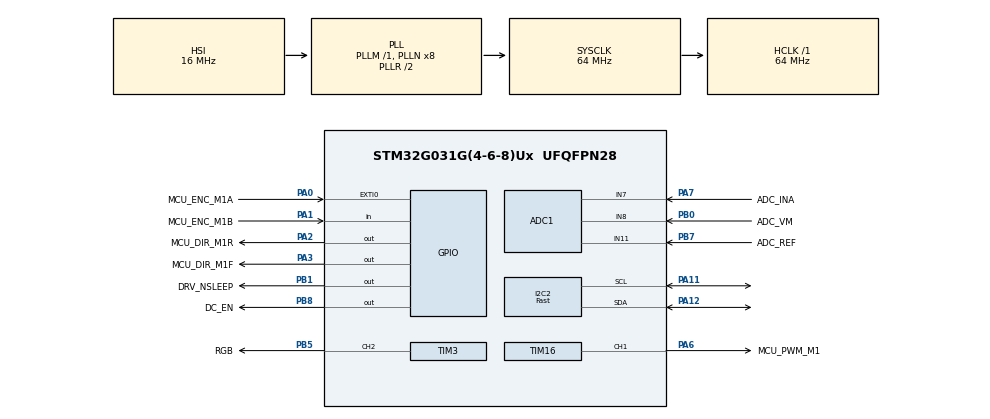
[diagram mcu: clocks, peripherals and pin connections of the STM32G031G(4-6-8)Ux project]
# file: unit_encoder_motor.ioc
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ADC1.Channel-0\#ChannelRegularConversion=ADC_CHANNEL_7
ADC1.Channel-1\#ChannelRegularConversion=ADC_CHANNEL_8
ADC1.Channel-2\#ChannelRegularConversion=ADC_CHANNEL_VREFINT
ADC1.Channel-3\#ChannelRegularConversion=ADC_CHANNEL_11
ADC1.ContinuousConvMode=ENABLE
ADC1.DMAContinuousRequests=ENABLE
ADC1.NbrOfConversion=4
ADC1.NbrOfConversionFlag=1
ADC1.Rank-0\#ChannelRegularConversion=1
ADC1.Rank-1\#ChannelRegularConversion=2
ADC1.Rank-2\#ChannelRegularConversion=3
ADC1.Rank-3\#ChannelRegularConversion=4
ADC1.SamplingTime-0\#ChannelRegularConversion=ADC_SAMPLINGTIME_COMMON_1
ADC1.SamplingTime-1\#ChannelRegularConversion=ADC_SAMPLINGTIME_COMMON_1
ADC1.SamplingTime-2\#ChannelRegularConversion=ADC_SAMPLINGTIME_COMMON_1
ADC1.SamplingTime-3\#ChannelRegularConversion=ADC_SAMPLINGTIME_COMMON_1
ADC1.SamplingTimeCommon1=ADC_SAMPLETIME_160CYCLES_5
ADC1.SamplingTimeCommon2=ADC_SAMPLETIME_160CYCLES_5
ADC1.SelectedChannel=ADC_CHANNEL_7|ADC_CHANNEL_VREFINT|ADC_CHANNEL_8|ADC_CHANNEL_11
ADC1.master=1
Dma.ADC1.0.Direction=DMA_PERIPH_TO_MEMORY
Dma.ADC1.0.EventEnable=DISABLE
Dma.ADC1.0.Instance=DMA1_Channel2
Dma.ADC1.0.MemDataAlignment=DMA_MDATAALIGN_WORD
Dma.ADC1.0.MemInc=DMA_MINC_ENABLE
Dma.ADC1.0.Mode=DMA_CIRCULAR
Dma.ADC1.0.PeriphDataAlignment=DMA_PDATAALIGN_WORD
Dma.ADC1.0.PeriphInc=DMA_PINC_DISABLE
Dma.ADC1.0.Polarity=HAL_DMAMUX_REQ_GEN_RISING
Dma.ADC1.0.Priority=DMA_PRIORITY_LOW
Dma.ADC1.0.RequestNumber=1
Dma.ADC1.0.SignalID=NONE
Dma.ADC1.0.SyncEnable=DISABLE
Dma.ADC1.0.SyncPolarity=HAL_DMAMUX_SYNC_NO_EVENT
Dma.ADC1.0.SyncRequestNumber=1
Dma.ADC1.0.SyncSignalID=NONE
Dma.Request0=ADC1
Dma.Request1=TIM3_CH2
Dma.TIM3_CH2.1.Direction=DMA_MEMORY_TO_PERIPH
Dma.TIM3_CH2.1.EventEnable=DISABLE
Dma.TIM3_CH2.1.Instance=DMA1_Channel1
Dma.TIM3_CH2.1.MemDataAlignment=DMA_MDATAALIGN_HALFWORD
Dma.TIM3_CH2.1.MemInc=DMA_MINC_ENABLE
Dma.TIM3_CH2.1.Mode=DMA_NORMAL
Dma.TIM3_CH2.1.PeriphDataAlignment=DMA_PDATAALIGN_HALFWORD
Dma.TIM3_CH2.1.PeriphInc=DMA_PINC_DISABLE
Dma.TIM3_CH2.1.Polarity=HAL_DMAMUX_REQ_GEN_RISING
Dma.TIM3_CH2.1.Priority=DMA_PRIORITY_LOW
Dma.TIM3_CH2.1.RequestNumber=1
Dma.TIM3_CH2.1.SignalID=NONE
Dma.TIM3_CH2.1.SyncEnable=DISABLE
Dma.TIM3_CH2.1.SyncPolarity=HAL_DMAMUX_SYNC_NO_EVENT
Dma.TIM3_CH2.1.SyncRequestNumber=1
Dma.TIM3_CH2.1.SyncSignalID=NONE
I2C2.I2C_Speed_Mode=I2C_Fast
I2C2.OwnAddress=0x2F << 1
I2C2.Timing=0x00C12166
IWDG.Prescaler=IWDG_PRESCALER_32
IWDG.Reload=4000
Mcu.Family=STM32G0
Mcu.Name=STM32G031G(4-6-8)Ux
Mcu.Package=UFQFPN28
NVIC.DMA1_Channel1_IRQn=true\:2\:0\:true\:false\:true\:false\:true\:true
NVIC.DMA1_Channel2_3_IRQn=true\:2\:0\:true\:false\:true\:false\:true\:true
NVIC.EXTI0_1_IRQn=true\:0\:0\:false\:false\:true\:true\:true\:true
NVIC.I2C2_IRQn=true\:1\:0\:true\:false\:true\:true\:true\:true
PA0.GPIO_Label=MCU_ENC_M1A
PA0.GPIO_ModeDefaultEXTI=GPIO_MODE_IT_RISING_FALLING
PA0.GPIO_PuPd=GPIO_PULLUP
PA0.Signal=GPXTI0
PA1.GPIO_Label=MCU_ENC_M1B
PA1.Signal=GPIO_Input
PA11\ [PA9].GPIO_Pu=GPIO_PULLUP
PA11\ [PA9].Mode=I2C
PA11\ [PA9].Signal=I2C2_SCL
PA12\ [PA10].GPIO_Pu=GPIO_PULLUP
PA12\ [PA10].Mode=I2C
PA12\ [PA10].Signal=I2C2_SDA
PA2.GPIO_Label=MCU_DIR_M1R
PA2.Signal=GPIO_Output
PA3.GPIO_Label=MCU_DIR_M1F
PA3.Signal=GPIO_Output
PA6.GPIO_Label=MCU_PWM_M1
PA6.Signal=S_TIM16_CH1
PA7.GPIO_Label=ADC_INA
PA7.Mode=IN7
PA7.Signal=ADC1_IN7
PB0.GPIO_Label=ADC_VM
PB0.Mode=IN8
PB0.Signal=ADC1_IN8
PB1.GPIO_Label=DRV_NSLEEP
PB1.PinState=GPIO_PIN_RESET
PB1.Signal=GPIO_Output
PB5.GPIO_Label=RGB
PB5.GPIO_PuPd=GPIO_NOPULL
PB5.Signal=S_TIM3_CH2
PB7.GPIO_Label=ADC_REF
PB7.Mode=IN11
PB7.Signal=ADC1_IN11
PB8.GPIO_Label=DC_EN
PB8.PinState=GPIO_PIN_SET
PB8.Signal=GPIO_Output
ProjectManager.HeapSize=0x200
ProjectManager.StackSize=0x400
ProjectManager.TargetToolchain=STM32CubeIDE
RCC.ADCFreq_Value=64000000
RCC.AHBFreq_Value=64000000
RCC.CortexFreq_Value=64000000
RCC.EXTERNAL_CLOCK_VALUE=12288000
RCC.HCLKFreq_Value=64000000
RCC.HSE_VALUE=8000000
RCC.HSI_VALUE=16000000
RCC.LSE_VALUE=32768
RCC.SYSCLKFreq_VALUE=64000000
RCC.SYSCLKSource=RCC_SYSCLKSOURCE_PLLCLK
RCC.VCOOutputFreq_Value=128000000
SH.S_TIM16_CH1.0=TIM16_CH1,PWM Generation1 CH1
SH.S_TIM3_CH2.0=TIM3_CH2,PWM Generation2 CH2
TIM16.Channel=TIM_CHANNEL_1
TIM16.OCIdleState_1=TIM_OCIDLESTATE_SET
TIM16.OCPolarity_1=TIM_OCPOLARITY_LOW
TIM16.Period=254
TIM16.Prescaler=35
TIM3.Channel-PWM\ Generation2\ CH2=TIM_CHANNEL_2
TIM3.Period=80-1
TIM3.Prescaler=0
VP_ADC1_Vref_Input.Mode=IN-Vrefint
VP_IWDG_VS_IWDG.Mode=IWDG_Activate
VP_TIM16_VS_ClockSourceINT.Mode=Enable_Timer
board=custom

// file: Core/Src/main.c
/* USER CODE BEGIN Header */
/**
 ******************************************************************************
 * @file           : main.c
 * @brief          : Main program body
 ******************************************************************************
 * @attention
 *
 * Copyright (c) 2025 STMicroelectronics.
 * All rights reserved.
 *
 * This software is licensed under terms that can be found in the LICENSE file
 * in the root directory of this software component.
 * If no LICENSE file comes with this software, it is provided AS-IS.
 *
 ******************************************************************************
 */
/* USER CODE END Header */
#include "main.h"
#include "adc.h"
#include "dma.h"
#include "i2c.h"
#include "iwdg.h"
#include "tim.h"
#include "gpio.h"

/* USER CODE BEGIN Includes */
#include "mymotorencoder.h"
#include "mymotorbdc.h"
#include "ws2812.h"
#include "pt_task.h"
#include "sys_utils.h"
#include "flash.h"
#include <string.h>
/* USER CODE END Includes */

/* USER CODE BEGIN PD */
#define ADC_CH_INA        0  // 根据你的通道顺序修改
#define ADC_CH_REF        3  // 根据你的通道顺序修改
#define ADC_CALIB_SAMPLES 100

/* USER CODE END PD */

/* USER CODE BEGIN PV */
volatile PeriError_TypeDef peri_error = {0};
volatile EventFlags_t g_events        = {0};
static uint8_t i2c_handle_tx_buf[128];
volatile uint8_t fm_version = FIRMWARE_VERSION;

// Device Unique identifier
__IO uint8_t g_uid[12] = {0};  // Unique identifier
/* USER CODE END PV */

void SystemClock_Config(void);

/* USER CODE BEGIN 0 */
uint32_t millis(void)
{
    return HAL_GetTick();
}

__STATIC_INLINE uint32_t GXT_SYSTICK_IsActiveCounterFlag(void)
{
    return ((SysTick->CTRL & SysTick_CTRL_COUNTFLAG_Msk) == (SysTick_CTRL_COUNTFLAG_Msk));
}

static uint32_t getCurrentMicros(void)
{
    /* Ensure COUNTFLAG is reset by reading SysTick control and status register */
    GXT_SYSTICK_IsActiveCounterFlag();
    uint32_t m         = HAL_GetTick();
    const uint32_t tms = SysTick->LOAD + 1;
    __IO uint32_t u    = tms - SysTick->VAL;
    if (GXT_SYSTICK_IsActiveCounterFlag()) {
        m = HAL_GetTick();
        u = tms - SysTick->VAL;
    }
    return (m * 1000 + (u * 1000) / tms);
}

// 获取系统时间，单位us
uint32_t micros(void)
{
    return getCurrentMicros();
}

static void i2c_send_bytes_from_offset(uint8_t *data, uint8_t data_len, uint8_t offset)
{
    if (offset >= data_len) {
        i2c2_set_send_data(NULL, 0);
        return;
    }

    i2c2_set_send_data(&data[offset], data_len - offset);
}

static void i2c_send_u8(uint8_t data)
{
    i2c_handle_tx_buf[0] = data;
    i2c2_set_send_data(i2c_handle_tx_buf, 1);
}

static void i2c_send_u16_from_offset(uint16_t data, uint8_t offset)
{
    if (offset >= 2) {
        i2c2_set_send_data(NULL, 0);
        return;
    }

    memcpy(i2c_handle_tx_buf, &data, 2);
    i2c2_set_send_data(&i2c_handle_tx_buf[offset], 2 - offset);
}

static void i2c_send_u32_from_offset(uint32_t data, uint8_t offset)
{
    if (offset >= 4) {
        i2c2_set_send_data(NULL, 0);
        return;
    }

    memcpy(i2c_handle_tx_buf, &data, 4);
    i2c2_set_send_data(&i2c_handle_tx_buf[offset], 4 - offset);
}

static void i2c_send_float_from_offset(float data, uint8_t offset)
{
    if (offset >= 4) {
        i2c2_set_send_data(NULL, 0);
        return;
    }

    memcpy(i2c_handle_tx_buf, &data, 4);
    i2c2_set_send_data(&i2c_handle_tx_buf[offset], 4 - offset);
}

static uint8_t is_valid_motor_config_value(uint8_t offset, uint8_t value)
{
    switch (offset) {
        case MOTOR_CONFIG_MOTOR_MODE:
            return value <= 0x02;
        case MOTOR_CONFIG_MOTOR_POS_MAX_SPEED:
            return value != 0x80;
        case MOTOR_CONFIG_MOTOR_SPEED_POINT:
            return value != 0x80;
        default:
            return 1;
    }
}

static uint8_t handle_i2c_write(uint8_t reg, uint8_t value)
{
    if (reg == I2C_RX_MOTOR_THROTTLE_BASE) {
        motor_data.motor_throttle[0] = value;
    } else if ((reg >= I2C_RX_ENCODER_BASE) && (reg <= I2C_RX_ENCODER_LIMIT)) {
        uint8_t offset                                                  = reg - I2C_RX_ENCODER_BASE;
        ((volatile uint8_t *)&encoder_raw[0].encoder_raw.value)[offset] = value;
    } else if ((reg >= I2C_RX_MOTOR_CONFIG_BASE) && (reg < I2C_RX_MOTOR_CONFIG_BASE + I2C_RX_MOTOR_CONFIG_COUNT)) {
        uint8_t offset = reg - I2C_RX_MOTOR_CONFIG_BASE;
        if (is_valid_motor_config_value(offset, value)) {
            motor_data.config[MOTOR_M1][offset] = value;
        }
    } else if ((reg >= I2C_RX_SYSTEM_SETTINGS_BASE) && (reg <= I2C_RX_SYSTEM_SETTINGS_LIMIT)) {
        switch (reg) {
            case I2C_RX_SYSTEM_SETTINGS_BASE: {
                uint8_t encoder_ab_mode = value ? 1 : 0;
                if (motor_data.encoder_ab_mode != encoder_ab_mode) {
                    motor_data.encoder_ab_mode     = encoder_ab_mode;
                    g_events.flash_config_update   = 1;
                    g_events.encoder_abmode_update = 1;  // 设置电机ab模式配置更新标志
                }
                break;
            }
            case I2C_RX_SYSTEM_SETTINGS_BASE + 1:
                if (motor_data.soft_start_stop_switch.value != value) {
                    motor_data.soft_start_stop_switch.value = value;
                    g_events.flash_config_update            = 1;
                }
                break;
            case I2C_RX_SYSTEM_SETTINGS_BASE + 2:
                motor_data.motor_sleep = value;
                if (motor_data.motor_sleep) {
                    LL_GPIO_SetOutputPin(DRV_NSLEEP_GPIO_Port, DRV_NSLEEP_Pin);
                } else {
                    LL_GPIO_ResetOutputPin(DRV_NSLEEP_GPIO_Port, DRV_NSLEEP_Pin);
                }
                break;
            default:
                break;
        }
    } else if ((reg >= I2C_RX_RGB_SETTINGS_BASE) && (reg <= I2C_RX_RGB_SETTINGS_LIMIT)) {
        switch (reg) {
            case I2C_RX_RGB_SETTINGS_BASE:
                rgb_data.rgb_data.flags.rgb_data_b = value;
                return 1;
            case I2C_RX_RGB_SETTINGS_BASE + 1:
                rgb_data.rgb_data.flags.rgb_data_g = value;
                return 1;
            case I2C_RX_RGB_SETTINGS_BASE + 2:
                rgb_data.rgb_data.flags.rgb_data_r = value;
                return 1;
            case I2C_RX_RGB_SETTINGS_BASE + 4:
                rgb_data.brightness = value;
                return 1;
            default:
                break;
        }
    }

    return 0;
}

static void handle_i2c_read(uint8_t reg)
{
    if (reg == I2C_TX_MOTOR_THROTTLE_ADDR) {
        i2c_send_u8(motor_data.motor_throttle[0]);
    } else if ((reg >= I2C_TX_ENCODER_VALUE_ADDR) && (reg <= I2C_RX_ENCODER_LIMIT)) {
        i2c_send_u32_from_offset((uint32_t)encoder_raw[0].encoder_raw.value, reg - I2C_TX_ENCODER_VALUE_ADDR);
    } else if (reg == I2C_TX_SPEED_VALUE_ADDR) {
        i2c_send_u8(motor_data.speed[0]);
    } else if ((reg >= I2C_TX_MOTOR_CONFIG_ADDR) && (reg < I2C_TX_MOTOR_CONFIG_ADDR + I2C_RX_MOTOR_CONFIG_COUNT)) {
        i2c_send_bytes_from_offset((uint8_t *)&motor_data.config[MOTOR_M1][0], I2C_RX_MOTOR_CONFIG_COUNT,
                                   reg - I2C_TX_MOTOR_CONFIG_ADDR);
    } else if ((reg >= I2C_TX_ADC_CURRENT_VALUE_ADDR) && (reg < I2C_TX_ADC_CURRENT_VALUE_ADDR + 4)) {
        i2c_send_float_from_offset(adc_data.i_in_value, reg - I2C_TX_ADC_CURRENT_VALUE_ADDR);
    } else if ((reg >= I2C_TX_ADC_VM_VALUE_ADDR) && (reg < I2C_TX_ADC_VM_VALUE_ADDR + 2)) {
        i2c_send_u16_from_offset((uint16_t)adc_data.uiAdcValueBuf[1], reg - I2C_TX_ADC_VM_VALUE_ADDR);
    } else if ((reg >= I2C_TX_MV_VM_VALUE_ADDR) && (reg < I2C_TX_MV_VM_VALUE_ADDR + 2)) {
        i2c_send_u16_from_offset((uint16_t)adc_data.voltage_vm_mv, reg - I2C_TX_MV_VM_VALUE_ADDR);
    } else if ((reg >= I2C_RX_SYSTEM_SETTINGS_BASE) && (reg <= I2C_RX_SYSTEM_SETTINGS_LIMIT)) {
        i2c_handle_tx_buf[0] = motor_data.encoder_ab_mode;
        i2c_handle_tx_buf[1] = motor_data.soft_start_stop_switch.value;
        i2c_handle_tx_buf[2] = motor_data.motor_sleep;
        i2c2_set_send_data(&i2c_handle_tx_buf[reg - I2C_RX_SYSTEM_SETTINGS_BASE],
                           I2C_RX_SYSTEM_SETTINGS_LIMIT - reg + 1);
    } else if ((reg >= I2C_RX_RGB_SETTINGS_BASE) && (reg <= I2C_RX_RGB_SETTINGS_LIMIT)) {
        memcpy(&i2c_handle_tx_buf[0], (uint8_t *)&rgb_data.rgb_data.value, 4);
        i2c_handle_tx_buf[4] = rgb_data.brightness;
        i2c2_set_send_data(&i2c_handle_tx_buf[reg - I2C_RX_RGB_SETTINGS_BASE], I2C_RX_RGB_SETTINGS_LIMIT - reg + 1);
    } else if ((reg >= I2C_TX_UID_BASE) && (reg <= I2C_TX_UID_LIMIT)) {
        for (uint8_t i = 0; i <= (I2C_TX_UID_LIMIT - I2C_TX_UID_BASE); i++) {
            i2c_handle_tx_buf[i] = g_uid[i];
        }
        i2c2_set_send_data(&i2c_handle_tx_buf[reg - I2C_TX_UID_BASE], I2C_TX_UID_LIMIT - reg + 1);
    } else if (reg == I2C_TX_DEVICE_STATUS_ADDR) {
        i2c_send_u8(1);
    } else if (reg == I2C_RX_JUMP_TO_BOOTLOADER_ADDR) {
        i2c_send_u8(0);
    } else if (reg == I2C_TX_FIRMWARE_VERSION_ADDR) {
        i2c_send_u8(fm_version);
    } else if (reg == I2C_RX_I2C_ADDR_CMD_ADDR) {
        i2c_send_u8(i2c_address[0]);
    } else {
        i2c2_set_send_data(NULL, 0);
    }
}

void Slave_Complete_Callback(uint8_t *rx_data, uint16_t len)
{
    if (len > 1) {
        uint8_t rgb_changed = 0;

        for (uint16_t i = 1; i < len; i++) {
            uint16_t reg = (uint16_t)rx_data[0] + i - 1;
            if (reg > 0xFF) {
                break;
            }

            rgb_changed |= handle_i2c_write((uint8_t)reg, rx_data[i]);
        }

        if (rgb_changed) {
            enqueue_config_request(rgb_data);
            g_events.rgb_update = 1;
        }

        if (rx_data[0] == I2C_RX_I2C_ADDR_CMD_ADDR) {
            if (len == 2) {
                if ((rx_data[1] <= I2C_MAX_ADDR_VALUE) && (rx_data[1] >= I2C_MIN_ADDR_VALUE)) {
                    if (i2c_address[0] != rx_data[1]) {
                        i2c_address[0]                  = rx_data[1];
                        g_events.i2c_addr_config_update = 1;
                        g_events.flash_config_update    = 1;
                    }
                }
            }
        } else if (rx_data[0] == I2C_RX_JUMP_TO_BOOTLOADER_ADDR) {
            if (rx_data[1] == 1) {
                g_events.jump_to_bootloader = 1;
            }
        }
    } else if (len == 1) {
        handle_i2c_read(rx_data[0]);
    }
}

// ADC零点漂移校准
void adc_zero_calibration(void)
{
    // 使用独立的中值和均值缓冲区
    static uint16_t median_buf[ADC_CHANNEL_NUMS][MEDIAN_WINDOW] = {0};
    static uint8_t median_idx[ADC_CHANNEL_NUMS]                 = {0};
    static uint16_t avg_buf[ADC_CHANNEL_NUMS][FILTER_WINDOW]    = {0};
    static uint8_t avg_idx[ADC_CHANNEL_NUMS]                    = {0};
    static uint16_t last_adc_val[ADC_CHANNEL_NUMS]              = {0};
    static int32_t offset_sum                                   = 0;

    LL_GPIO_ResetOutputPin(DRV_NSLEEP_GPIO_Port, DRV_NSLEEP_Pin);

    for (int n = 0; n < ADC_CALIB_SAMPLES; n++) {
        // ------ 读取 INA ------
        uint16_t raw_ina         = safe_adc_read(adc_data.uiAdcValueBuf[ADC_CH_INA], last_adc_val[ADC_CH_INA]);
        last_adc_val[ADC_CH_INA] = raw_ina;
        uint16_t median_ina      = median_filter(raw_ina, median_buf[ADC_CH_INA], &median_idx[ADC_CH_INA]);
        uint16_t avg_ina         = moving_average(median_ina, avg_buf[ADC_CH_INA], &avg_idx[ADC_CH_INA]);

        // ------ 读取 REF ------
        uint16_t raw_ref         = safe_adc_read(adc_data.uiAdcValueBuf[ADC_CH_REF], last_adc_val[ADC_CH_REF]);
        last_adc_val[ADC_CH_REF] = raw_ref;
        uint16_t median_ref      = median_filter(raw_ref, median_buf[ADC_CH_REF], &median_idx[ADC_CH_REF]);
        uint16_t avg_ref         = moving_average(median_ref, avg_buf[ADC_CH_REF], &avg_idx[ADC_CH_REF]);

        // 差值累加
        offset_sum += (int32_t)avg_ina - (int32_t)avg_ref;

        // 小延时，不然DMA的ADC数据还可能没更新
        HAL_Delay(5);
    }
    adc_data.offset_val = (float)(offset_sum / ADC_CALIB_SAMPLES);
    LL_GPIO_SetOutputPin(DRV_NSLEEP_GPIO_Port, DRV_NSLEEP_Pin);
}

void read_uid(void)
{
    uint32_t uid_words[3] = {
        HAL_GetUIDw0(),
        HAL_GetUIDw1(),
        HAL_GetUIDw2(),
    };
    uint8_t *uid_bytes = (uint8_t *)uid_words;

    for (uint8_t i = 0; i < sizeof(g_uid); i++) {
        g_uid[i] = uid_bytes[i];
    }
}

/* USER CODE END 0 */

int main(void)
{
    /* USER CODE BEGIN 1 */
    read_uid();
    /* USER CODE END 1 */

    /* MCU Configuration--------------------------------------------------------*/

    /* Reset of all peripherals, Initializes the Flash interface and the Systick. */
    HAL_Init();

    /* Configure the system clock */
    SystemClock_Config();

    /* Initialize all configured peripherals */
    MX_GPIO_Init();
    MX_DMA_Init();
    MX_ADC1_Init();
    MX_TIM3_Init();
    MX_I2C2_Init();
    MX_TIM16_Init();
    MX_IWDG_Init();
    /* USER CODE BEGIN 2 */
    HAL_IWDG_Refresh(&hiwdg);
    init_flash_data();
    user_gpio_init();
    if (HAL_ADCEx_Calibration_Start(&hadc1) != HAL_OK) {
        peri_error.flags.adc_setup = 1;
    }
    if (HAL_ADC_Start_DMA(&hadc1, (uint32_t *)&adc_data.uiAdcValueBuf[0], ADC_CHANNEL_NUMS) != HAL_OK) {
        peri_error.flags.adc_setup = 1;
    }
    HAL_IWDG_Refresh(&hiwdg);
    adc_zero_calibration();
    HAL_IWDG_Refresh(&hiwdg);
    sk6812_init(PIXEL_MAX);
    neopixel_set_color(0, 0x000000, 50);
    ws2812_show();
    InitMotorPwm();
    InitMotorEncoder();
    init_motor();
    init_pt_task();
    user_i2c_init();
    i2c2_it_enable();
    /* USER CODE END 2 */

    /* Infinite loop */
    /* USER CODE BEGIN WHILE */
    while (1) {
        main_scheduler(&main_pt);
        /* USER CODE END WHILE */

    }
}

void SystemClock_Config(void)
{
    RCC_OscInitTypeDef RCC_OscInitStruct = {0};
    RCC_ClkInitTypeDef RCC_ClkInitStruct = {0};

    /** Configure the main internal regulator output voltage
     */
    HAL_PWREx_ControlVoltageScaling(PWR_REGULATOR_VOLTAGE_SCALE1);

    /** Initializes the RCC Oscillators according to the specified parameters
     * in the RCC_OscInitTypeDef structure.
     */
    RCC_OscInitStruct.OscillatorType      = RCC_OSCILLATORTYPE_HSI | RCC_OSCILLATORTYPE_LSI;
    RCC_OscInitStruct.HSIState            = RCC_HSI_ON;
    RCC_OscInitStruct.HSIDiv              = RCC_HSI_DIV1;
    RCC_OscInitStruct.HSICalibrationValue = RCC_HSICALIBRATION_DEFAULT;
    RCC_OscInitStruct.LSIState            = RCC_LSI_ON;
    RCC_OscInitStruct.PLL.PLLState        = RCC_PLL_ON;
    RCC_OscInitStruct.PLL.PLLSource       = RCC_PLLSOURCE_HSI;
    RCC_OscInitStruct.PLL.PLLM            = RCC_PLLM_DIV1;
    RCC_OscInitStruct.PLL.PLLN            = 8;
    RCC_OscInitStruct.PLL.PLLP            = RCC_PLLP_DIV2;
    RCC_OscInitStruct.PLL.PLLQ            = RCC_PLLQ_DIV2;
    RCC_OscInitStruct.PLL.PLLR            = RCC_PLLR_DIV2;
    if (HAL_RCC_OscConfig(&RCC_OscInitStruct) != HAL_OK) {
        Error_Handler();
    }

    /** Initializes the CPU, AHB and APB buses clocks
     */
    RCC_ClkInitStruct.ClockType      = RCC_CLOCKTYPE_HCLK | RCC_CLOCKTYPE_SYSCLK | RCC_CLOCKTYPE_PCLK1;
    RCC_ClkInitStruct.SYSCLKSource   = RCC_SYSCLKSOURCE_PLLCLK;
    RCC_ClkInitStruct.AHBCLKDivider  = RCC_SYSCLK_DIV1;
    RCC_ClkInitStruct.APB1CLKDivider = RCC_HCLK_DIV1;

    if (HAL_RCC_ClockConfig(&RCC_ClkInitStruct, FLASH_LATENCY_2) != HAL_OK) {
        Error_Handler();
    }
}

void Error_Handler(void)
{
    /* USER CODE BEGIN Error_Handler_Debug */
    /* User can add his own implementation to report the HAL error return state */
    __disable_irq();
    while (1) {
        HAL_NVIC_SystemReset();
    }
    /* USER CODE END Error_Handler_Debug */
}
